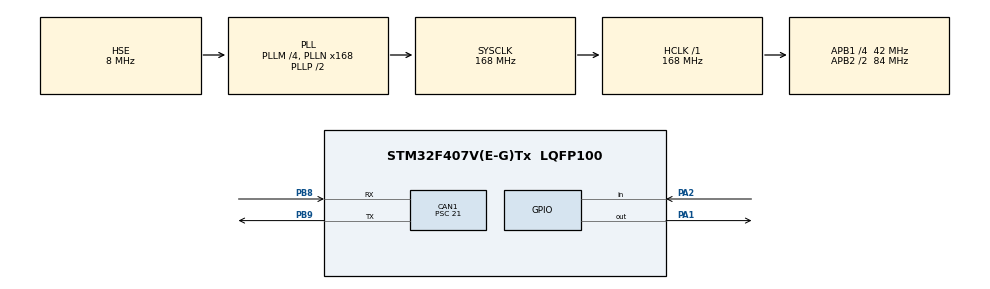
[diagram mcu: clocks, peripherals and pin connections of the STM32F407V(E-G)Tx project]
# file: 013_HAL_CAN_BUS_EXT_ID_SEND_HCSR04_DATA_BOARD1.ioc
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Mcu.Family=STM32F4
RCC.PLLSourceVirtual=RCC_PLLSOURCE_HSE
PH0-OSC_IN.Signal=RCC_OSC_IN
RCC.CortexFreq_Value=168000000
CAN1.CalculateBaudRate=125000
RCC.APB1CLKDivider=RCC_HCLK_DIV4
RCC.SYSCLKSource=RCC_SYSCLKSOURCE_PLLCLK
ProjectManager.StackSize=0x400
CAN1.BS2=CAN_BS2_5TQ
ProjectManager.TargetToolchain=STM32CubeIDE
CAN1.BS1=CAN_BS1_10TQ
RCC.HCLKFreq_Value=168000000
PB9.Mode=CAN_Activate
RCC.APB2TimFreq_Value=168000000
RCC.LSE_VALUE=32768
PA1.Signal=GPIO_Output
RCC.AHBFreq_Value=168000000
PH0-OSC_IN.Mode=HSE-External-Oscillator
RCC.HSE_VALUE=8000000
board=custom
RCC.VCOOutputFreq_Value=336000000
RCC.APB2Freq_Value=84000000
PH1-OSC_OUT.Signal=RCC_OSC_OUT
Mcu.Name=STM32F407V(E-G)Tx
PA2.Signal=GPIO_Input
PH1-OSC_OUT.Mode=HSE-External-Oscillator
RCC.48MHZClocksFreq_Value=84000000
RCC.SYSCLKFreq_VALUE=168000000
CAN1.Prescaler=21
PB9.Signal=CAN1_TX
Mcu.Package=LQFP100
ProjectManager.HeapSize=0x200
RCC.HSI_VALUE=16000000
NVIC.PriorityGroup=NVIC_PRIORITYGROUP_0
RCC.APB2CLKDivider=RCC_HCLK_DIV2
RCC.PLLM=4
PB8.Mode=CAN_Activate
RCC.PLLN=168
RCC.APB1TimFreq_Value=84000000
PB8.Signal=CAN1_RX
RCC.APB1Freq_Value=42000000
CAN1.CalculateTimeBit=8000.00
NVIC.CAN1_RX0_IRQn=true\:0\:1\:false\:false\:true\:true\:true
CAN1.CalculateTimeQuantum=500.0

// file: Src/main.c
/* USER CODE BEGIN Header */
/**
  ******************************************************************************
  * @file           : main.c
  * @brief          : Main program body
  ******************************************************************************
  * @attention
  ***********************************************************************************************
  ***** TEK EXT ID MASK FİLTRE KULLANIMI VE BELİRLİ BİR ARALIKTAKİ IDLERDEN MESAJ ALIMI  ********
  ***********************************************************************************************
  ***********************************************************************************************
  */
/* USER CODE END Header */
#include "main.h"

/* USER CODE BEGIN Includes */
#include  "dwt_stm32_delay.h" // us cinsinden gecikme için
/* USER CODE END Includes */

CAN_HandleTypeDef hcan1;

/* USER CODE BEGIN PV */
CAN_TxHeaderTypeDef pTxHeader; // Gönderecegimiz verileri için
CAN_FilterTypeDef sFilterConfig; // Filtre özellikleri için

uint32_t sensor_time;
uint32_t distance[1];
uint32_t pTxMailbox;
/* USER CODE END PV */

void SystemClock_Config(void);
static void MX_GPIO_Init(void);
static void MX_CAN1_Init(void);
/* USER CODE BEGIN PFP */
uint32_t Read_HCSR04()
{

	uint32_t local_time = 0;

	HAL_GPIO_WritePin(GPIOA, GPIO_PIN_1, GPIO_PIN_SET);
	DWT_Delay_us(10);
	HAL_GPIO_WritePin(GPIOA, GPIO_PIN_1, GPIO_PIN_RESET);

	while(!HAL_GPIO_ReadPin(GPIOA, GPIO_PIN_2));
	// aktif olana kadar bekle

	while(HAL_GPIO_ReadPin(GPIOA, GPIO_PIN_2)) // Aktif oldugu süreyi hesaplayalım
	{
		local_time++;
		DWT_Delay_us(1); // 1 er us'lik geçikmelerle artıralım.

	}

	return local_time * 2; // bi gitme bi gelme süresi var :) * 2
}
/* USER CODE END PFP */

int main(void)
{

  /* MCU Configuration--------------------------------------------------------*/

  /* Reset of all peripherals, Initializes the Flash interface and the Systick. */
  HAL_Init();

  /* Configure the system clock */
  SystemClock_Config();

  /* Initialize all configured peripherals */
  MX_GPIO_Init();
  MX_CAN1_Init();
  /* USER CODE BEGIN 2 */

  // enable dwt us
  DWT_Delay_Init();

  // Set pHeader Parameters
  pTxHeader.DLC = 1;      // Specifies the length of the frame that will be transmitted. (Biz 1 bytlık veri gönderiyoruz)
  pTxHeader.IDE = CAN_ID_EXT;       // Specifies the type of identifier for the message that will be transmitted.
  	  	  	  	  	  	  	  	  // @ref CAN_identifier_type içinde alabilecegi degerler mevcut.
  pTxHeader.RTR = CAN_RTR_DATA;     /*!< Specifies the type of frame for the message that will be transmitted.
                                      This parameter can be a value of @ref CAN_remote_transmission_request */
  pTxHeader.ExtId = 0x0AF09876;              /*!< Specifies the extended identifier. This parameter must be
  	  	  	  	  	  	  	  	  	          a number between Min_Data = 0 and Max_Data = 0x1FFFFFFF. */

 // Start CAN communication
   HAL_CAN_Start(&hcan1);

  /* USER CODE END 2 */

  /* Infinite loop */
  while (1)
  {
 sensor_time = Read_HCSR04();
 // distance[0] = sensor_time * .034 / 2; // ölçülen zaman(uS) / 58 = centimeter  veya sensor_time * .034 /2 ;
 distance[0] = sensor_time  / 58;

 HAL_CAN_AddTxMessage(&hcan1, &pTxHeader,(uint8_t*) distance, &pTxMailbox); // distance 32 bitlik 8bite çevirdik.
 HAL_Delay(20);
  }
}

void SystemClock_Config(void)
{
  RCC_OscInitTypeDef RCC_OscInitStruct = {0};
  RCC_ClkInitTypeDef RCC_ClkInitStruct = {0};

  /** Configure the main internal regulator output voltage
  */
  __HAL_RCC_PWR_CLK_ENABLE();
  __HAL_PWR_VOLTAGESCALING_CONFIG(PWR_REGULATOR_VOLTAGE_SCALE1);
  /** Initializes the RCC Oscillators according to the specified parameters
  * in the RCC_OscInitTypeDef structure.
  */
  RCC_OscInitStruct.OscillatorType = RCC_OSCILLATORTYPE_HSE;
  RCC_OscInitStruct.HSEState = RCC_HSE_ON;
  RCC_OscInitStruct.PLL.PLLState = RCC_PLL_ON;
  RCC_OscInitStruct.PLL.PLLSource = RCC_PLLSOURCE_HSE;
  RCC_OscInitStruct.PLL.PLLM = 4;
  RCC_OscInitStruct.PLL.PLLN = 168;
  RCC_OscInitStruct.PLL.PLLP = RCC_PLLP_DIV2;
  RCC_OscInitStruct.PLL.PLLQ = 4;
  if (HAL_RCC_OscConfig(&RCC_OscInitStruct) != HAL_OK)
  {
    Error_Handler();
  }
  /** Initializes the CPU, AHB and APB buses clocks
  */
  RCC_ClkInitStruct.ClockType = RCC_CLOCKTYPE_HCLK|RCC_CLOCKTYPE_SYSCLK
                              |RCC_CLOCKTYPE_PCLK1|RCC_CLOCKTYPE_PCLK2;
  RCC_ClkInitStruct.SYSCLKSource = RCC_SYSCLKSOURCE_PLLCLK;
  RCC_ClkInitStruct.AHBCLKDivider = RCC_SYSCLK_DIV1;
  RCC_ClkInitStruct.APB1CLKDivider = RCC_HCLK_DIV4;
  RCC_ClkInitStruct.APB2CLKDivider = RCC_HCLK_DIV2;

  if (HAL_RCC_ClockConfig(&RCC_ClkInitStruct, FLASH_LATENCY_5) != HAL_OK)
  {
    Error_Handler();
  }
}

static void MX_CAN1_Init(void)
{

  hcan1.Instance = CAN1;
  hcan1.Init.Prescaler = 21;
  hcan1.Init.Mode = CAN_MODE_NORMAL;
  hcan1.Init.SyncJumpWidth = CAN_SJW_1TQ;
  hcan1.Init.TimeSeg1 = CAN_BS1_10TQ;
  hcan1.Init.TimeSeg2 = CAN_BS2_5TQ;
  hcan1.Init.TimeTriggeredMode = DISABLE;
  hcan1.Init.AutoBusOff = DISABLE;
  hcan1.Init.AutoWakeUp = DISABLE;
  hcan1.Init.AutoRetransmission = DISABLE;
  hcan1.Init.ReceiveFifoLocked = DISABLE;
  hcan1.Init.TransmitFifoPriority = DISABLE;
  if (HAL_CAN_Init(&hcan1) != HAL_OK)
  {
    Error_Handler();
  }

}

static void MX_GPIO_Init(void)
{
  GPIO_InitTypeDef GPIO_InitStruct = {0};

  /* GPIO Ports Clock Enable */
  __HAL_RCC_GPIOH_CLK_ENABLE();
  __HAL_RCC_GPIOA_CLK_ENABLE();
  __HAL_RCC_GPIOB_CLK_ENABLE();

  /*Configure GPIO pin Output Level */
  HAL_GPIO_WritePin(GPIOA, GPIO_PIN_1, GPIO_PIN_RESET);

  /*Configure GPIO pin : PA1 */
  GPIO_InitStruct.Pin = GPIO_PIN_1;
  GPIO_InitStruct.Mode = GPIO_MODE_OUTPUT_PP;
  GPIO_InitStruct.Pull = GPIO_NOPULL;
  GPIO_InitStruct.Speed = GPIO_SPEED_FREQ_LOW;
  HAL_GPIO_Init(GPIOA, &GPIO_InitStruct);

  /*Configure GPIO pin : PA2 */
  GPIO_InitStruct.Pin = GPIO_PIN_2;
  GPIO_InitStruct.Mode = GPIO_MODE_INPUT;
  GPIO_InitStruct.Pull = GPIO_NOPULL;
  HAL_GPIO_Init(GPIOA, &GPIO_InitStruct);

}

void Error_Handler(void)
{
}

/************************ (C) COPYRIGHT STMicroelectronics *****END OF FILE****/
